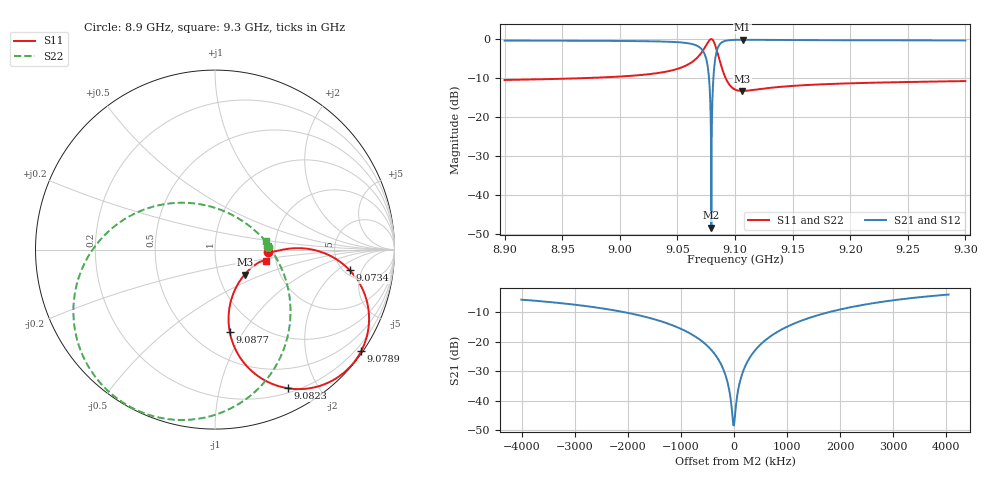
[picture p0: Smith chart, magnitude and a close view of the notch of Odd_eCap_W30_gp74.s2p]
! Sonnet Data File
! From: emgraph Version : 16.52
! From Project: Resonator2_extremeCap2
! Data is De-embedded
! Data File Written: 10/11/2017 09:28:28
!< HDATE 10/10/2017 20:43:28
!< MDATE 10/10/2017 20:43:28
!< PARAMS
!< Pwid1 = 2000.0
!< Pwid2 = 2000.0
!< Air_gap = 18.0
!< Width = 30.0
!< Gap = 74.0
!< END PARAMS
# GHZ S MA R 43.06000
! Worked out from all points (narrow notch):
!   2194 points, 8.9 GHz to 9.3 GHz, reference 43.06 ohm
!   highest |S21| = -0.21 dB at 9.1065 GHz (marker M1); lowest = -48.4 dB at 9.0795 GHz (marker M2)
!   notch at M2: 47.9 dB deep, 686 kHz wide at half that depth
!   lowest |S11| = -13.3 dB at 9.1065 GHz (marker M3), VSWR 1.55, Z = 57.3 - j16.7 ohm
!   |S11| at or under -10 dB: start of sweep to 8.9724 GHz; 9.0918 GHz to end of sweep
!   |S22| runs from -13.3 to 0.0 dB; largest |S21 - S12| = 0
!   S11 on the Smith chart (normalised r, x): 8.9 GHz: 1.85, -0.06; 9.0734 GHz: 5.62, -3.02; 9.0789 GHz: 0.05, -3.19; 9.0823 GHz: 0.25, -1.63; 9.0877 GHz: 0.75, -0.87; 9.3 GHz: 1.76, -0.24
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8.9  0.2982 -2.8  0.9545 -90.0  0.9545 -90.0  0.2982 2.9
!< P1 F=8.9 Eeff=(5.1612639 -2.2548e-5) Z0=(43.0590329 9.5502e-5) R=0.0 C=0.0
!< P2 F=8.9 Eeff=(5.1612639 -2.2548e-5) Z0=(43.0590329 9.5502e-5) R=0.0 C=0.0
8.96675  0.3142 -2.5  0.9494 -91.7  0.9494 -91.7  0.3141 -0.9
9.0335  0.3666 -0.4  0.9303 -96.3  0.9303 -96.3  0.3666 -12.3
9.06125  0.4901 0.8  0.8714 -105.6  0.8714 -105.6  0.4899 -32.1
9.073422  0.7584 -8.7  0.6501 -127.0  0.6501 -127.0  0.7576 -65.7
9.077217  0.9372 -23.7  0.3424 -147.9  0.3424 -147.9  0.9359 -93.1
9.07825  0.977 -30.3  0.2006 -156.1  0.2006 -156.1  0.9756 -103.8
9.078854  0.9917 -34.8  0.1049 -160.9  0.1049 -160.9  0.9901 -110.8
9.079195  0.996 -37.4  0.04764 -161.8  0.04764 -161.8  0.9944 -114.9
9.079474  0.997 -39.7  0.003811 -63.5  0.003811 -63.5  0.9954 -118.3
9.079544  0.9969 -40.2  0.01386 -5.2  0.01386 -5.2  0.9953 -119.2
9.079756  0.9957 -42.0  0.05124 3.9  0.05124 3.9  0.994 -121.9
9.080251  0.987 -46.1  0.1401 1.2  0.1401 1.2  0.9854 -128.3
9.082284  0.8741 -62.2  0.48 -18.9  0.48 -18.9  0.8723 -154.7
9.084797  0.6614 -75.2  0.7476 -39.2  0.7476 -39.2  0.6598 177.3
9.08775  0.4646 -79.8  0.8843 -54.1  0.8843 -54.1  0.4634 152.0
9.1  0.2248 -53.0  0.9742 -75.4  0.9742 -75.4  0.2243 82.3
9.1065  0.2157 -40.0  0.9763 -79.2  0.9763 -79.2  0.2154 61.7
9.106528  0.2157 -40.0  0.9763 -79.2  0.9763 -79.2  0.2154 61.6
9.16675  0.2588 -15.4  0.9659 -88.0  0.9659 -88.0  0.2588 19.5
9.2335  0.2779 -13.0  0.9606 -90.3  0.9606 -90.3  0.2779 12.4
9.3  0.2885 -12.7  0.9575 -91.7  0.9575 -91.7  0.2885 9.2
